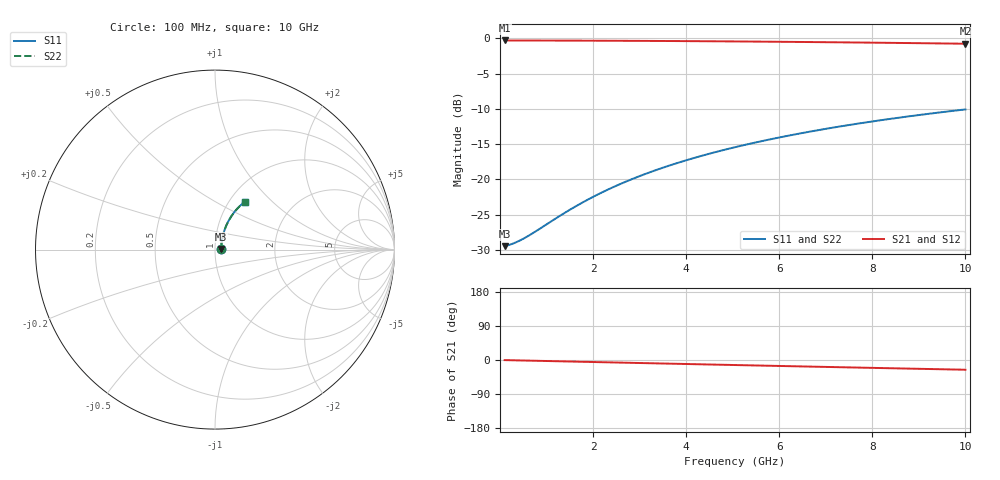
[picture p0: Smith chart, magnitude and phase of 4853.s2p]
# Hz S RI R 50.00
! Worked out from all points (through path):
!   100 points, 100 MHz to 10 GHz, reference 50 ohm
!   highest |S21| = -0.29 dB at 100 MHz (marker M1); lowest = -0.8 dB at 10 GHz (marker M2)
!   group delay of S21, straight-line fit = 7.15 ps
!   lowest |S11| = -29.5 dB at 100 MHz (marker M3), VSWR 1.07, Z = 53.5 + j0.341 ohm
!   |S11| at or under -10 dB: start of sweep to end of sweep
!   |S22| runs from -29.5 to -10.1 dB; largest |S21 - S12| = 0
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1e8  0.0334 0.00318  0.9666 -0.00448  0.9666 -0.00448  0.0334 0.00318
2e8  0.0336 0.00636  0.9664 -0.00896  0.9664 -0.00896  0.0336 0.00636
3e8  0.0338 0.00954  0.9661 -0.0134  0.9661 -0.0134  0.0338 0.00954
4e8  0.0341 0.0127  0.9659 -0.0179  0.9659 -0.0179  0.0341 0.0127
5e8  0.0343 0.0159  0.9657 -0.0224  0.9657 -0.0224  0.0343 0.0159
7e8  0.0348 0.0222  0.9651 -0.0313  0.9651 -0.0313  0.0348 0.0222
1.4e9  0.0374 0.0443  0.9624 -0.0625  0.9624 -0.0625  0.0374 0.0443
1.8e9  0.0395 0.0568  0.9602 -0.0802  0.9602 -0.0802  0.0395 0.0568
2.2e9  0.042 0.0692  0.9576 -0.0978  0.9576 -0.0978  0.042 0.0692
2.6e9  0.0449 0.0814  0.9545 -0.1153  0.9545 -0.1153  0.0449 0.0814
3e9  0.0483 0.0936  0.9509 -0.1326  0.9509 -0.1326  0.0483 0.0936
3.4e9  0.052 0.1055  0.9469 -0.1498  0.9469 -0.1498  0.052 0.1055
3.8e9  0.0562 0.1173  0.9425 -0.1668  0.9425 -0.1668  0.0562 0.1173
4.2e9  0.0608 0.1289  0.9376 -0.1836  0.9376 -0.1836  0.0608 0.1289
4.6e9  0.0659 0.1403  0.9323 -0.2002  0.9323 -0.2002  0.0659 0.1403
5.1e9  0.0726 0.1542  0.9251 -0.2206  0.9251 -0.2206  0.0726 0.1542
5.9e9  0.0847 0.1756  0.9122 -0.2525  0.9122 -0.2525  0.0847 0.1756
6.7e9  0.0981 0.1958  0.8979 -0.2833  0.8979 -0.2833  0.0981 0.1958
7.5e9  0.1128 0.2149  0.8822 -0.3128  0.8822 -0.3128  0.1128 0.2149
8.4e9  0.1307 0.2348  0.8631 -0.3446  0.8631 -0.3446  0.1307 0.2348
9.2e9  0.1476 0.2511  0.845 -0.3714  0.845 -0.3714  0.1476 0.2511
1e10  0.1653 0.266  0.8259 -0.3969  0.8259 -0.3969  0.1653 0.266
